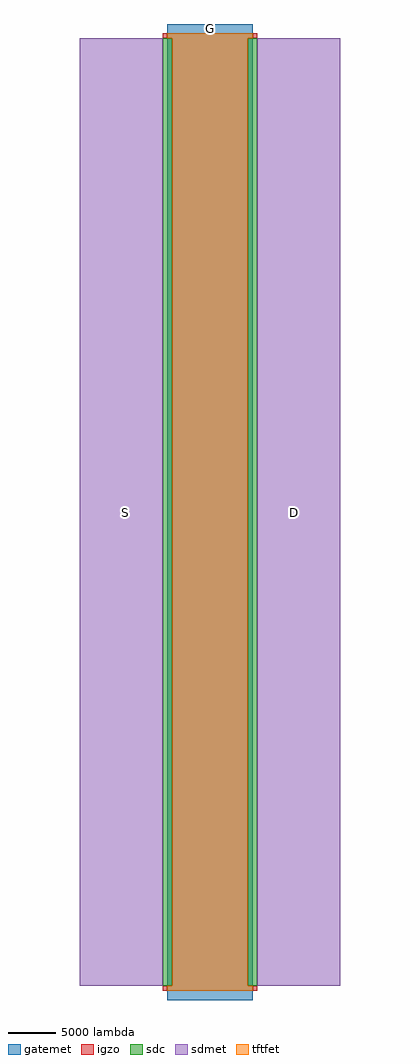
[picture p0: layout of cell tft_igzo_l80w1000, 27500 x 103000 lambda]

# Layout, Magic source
magic
tech igzo_mmm_lab
<< igzo >>
rect -5000 50000 -4500 50500
rect 4500 50000 5000 50500
rect -5000 -50500 -4500 -50000
rect 4500 -50500 5000 -50000
<< tftfet >>
rect -4500 50000 4500 50500
rect -4000 -50000 4000 50000
rect -4500 -50500 4500 -50000
<< sdc >>
rect -5000 -50000 -4000 50000
rect 4000 -50000 5000 50000
<< sdmet >>
rect -13750 -50000 -5000 50000
rect 5000 -50000 13750 50000
<< gatemet >>
rect -4500 -51500 4500 51500
<< labels >>
rlabel sdmet s -9363 -488 -8387 488 4 S
port 3 nsew
rlabel sdmet s 8387 -488 9363 488 4 D
port 5 nsew
rlabel gatemet s -488 50512 488 51488 4 G
port 7 nsew
<< end >>
